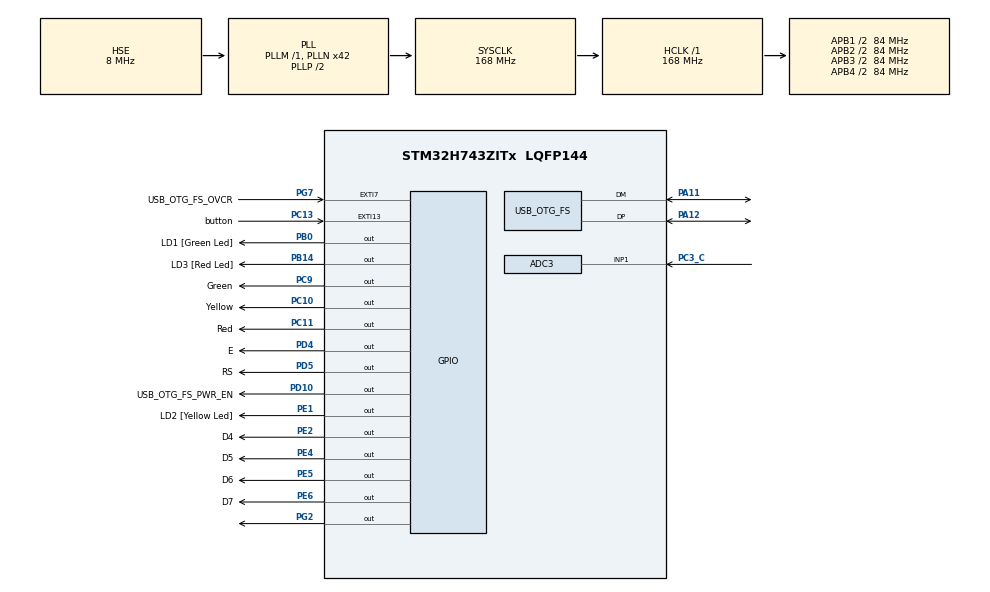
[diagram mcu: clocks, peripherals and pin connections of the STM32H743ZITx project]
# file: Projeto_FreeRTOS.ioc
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ADC3.Channel-0\#ChannelRegularConversion=ADC_CHANNEL_1
ADC3.ClockPrescalerADC3=ADC_CLOCK_ASYNC_DIV4
ADC3.ContinuousConvMode=ENABLE
ADC3.EOCSelection=ADC_EOC_SINGLE_CONV
ADC3.NbrOfConversion=1
ADC3.NbrOfConversionFlag=1
ADC3.OffsetNumber-0\#ChannelRegularConversion=ADC_OFFSET_NONE
ADC3.OffsetSignedSaturation-0\#ChannelRegularConversion=DISABLE
ADC3.Rank-0\#ChannelRegularConversion=1
ADC3.Resolution=ADC_RESOLUTION_12B
ADC3.SamplingTime-0\#ChannelRegularConversion=ADC_SAMPLETIME_64CYCLES_5
FREERTOS.BinarySemaphores01=mySemMultiAndLongClique,Dynamic,NULL,Available;mySemBuzzer,Dynamic,NULL,Available;mySemLed,Dynamic,NULL,Available;mySemBuzzerWait,Dynamic,NULL,Available;mySemLedWait,Dynamic,NULL,Available;mySemButtonBlock,Dynamic,NULL,Available;mySemUSB_Block,Dynamic,NULL,Available
FREERTOS.Queues01=myQueue01,16,uint32_t,0,Dynamic,NULL,NULL;myQueue02,16,uint32_t,0,Dynamic,NULL,NULL;myQueue03,16,uint32_t,0,Dynamic,NULL,NULL;myQueue04,16,uint16_t,0,Dynamic,NULL,NULL;myQueue05,16,uint16_t,0,Dynamic,NULL,NULL
FREERTOS.Tasks01=myTask01_Button,0,128,StartTask01_Button,Default,NULL,Dynamic,NULL,NULL;myTask02_Buzzer,-1,128,StartTask02_Buzzer,Default,NULL,Dynamic,NULL,NULL;myTask03_Led,-1,128,StartTask03_Led,Default,NULL,Dynamic,NULL,NULL;myTask04_USB,1,128,StartTask04_USB,Default,NULL,Dynamic,NULL,NULL
FREERTOS.Timers01=myTimerMultiAndLongCliques,CallbackMultiAndLongCliques,osTimerOnce,Default,NULL,Dynamic,NULL;myTimerToqueIntermitenteBuzzer,CallbackToqueIntermitenteBuzzer,osTimerPeriodic,Default,NULL,Dynamic,NULL;myTimerToqueRapido3sBuzzer,CallbackToqueRapido3sBuzzer,osTimerOnce,Default,NULL,Dynamic,NULL;myTimerTask3_1s,CallbackTask3_1s,osTimerPeriodic,Default,NULL,Dynamic,NULL;myTimerToqueIntermitenteLed,CallbackToqueIntermitenteLed,osTimerPeriodic,Default,NULL,Dynamic,NULL;myTimerToqueRapido3sLed,CallbackToqueRapido3sLed,osTimerOnce,Default,NULL,Dynamic,NULL;myTimerYellow5hz,CallbackYellow5hz,osTimerPeriodic,Default,NULL,Dynamic,NULL
FREERTOS.configENABLE_FPU=1
FREERTOS.configTOTAL_HEAP_SIZE=32000
FREERTOS.configUSE_NEWLIB_REENTRANT=1
FREERTOS.configUSE_TIMERS=1
Mcu.Family=STM32H7
Mcu.Name=STM32H743ZITx
Mcu.Package=LQFP144
NVIC.ADC3_IRQn=true\:5\:0\:false\:false\:true\:true\:true\:true\:true
NVIC.EXTI15_10_IRQn=true\:5\:0\:false\:false\:true\:true\:true\:true\:true
NVIC.OTG_FS_IRQn=true\:5\:0\:false\:false\:true\:true\:true\:true\:true
NVIC.PriorityGroup=NVIC_PRIORITYGROUP_4
NVIC.TIM2_IRQn=true\:15\:0\:false\:false\:true\:false\:false\:true\:true
NVIC.TimeBase=TIM2_IRQn
NVIC.TimeBaseIP=TIM2
PA1.Signal=ETH_REF_CLK
PA11.Mode=Device_Only
PA11.Signal=USB_OTG_FS_DM
PA12.Mode=Device_Only
PA12.Signal=USB_OTG_FS_DP
PA13\ (JTMS/SWDIO).Mode=Serial_Wire
PA13\ (JTMS/SWDIO).Signal=DEBUG_JTMS-SWDIO
PA14\ (JTCK/SWCLK).Mode=Serial_Wire
PA14\ (JTCK/SWCLK).Signal=DEBUG_JTCK-SWCLK
PA2.Signal=ETH_MDIO
PA7.Signal=ETH_CRS_DV
PA8.Signal=USB_OTG_FS_SOF
PA9.Signal=USB_OTG_FS_VBUS
PB0.GPIO_Label=LD1 [Green Led]
PB0.Signal=GPIO_Output
PB13.Signal=ETH_TXD1
PB14.GPIO_Label=LD3 [Red Led]
PB14.Signal=GPIO_Output
PC1.Signal=ETH_MDC
PC10.GPIO_Label=Yellow
PC10.Signal=GPIO_Output
PC11.GPIO_Label=Red
PC11.Signal=GPIO_Output
PC13.GPIO_Label=button
PC13.GPIO_ModeDefaultEXTI=GPIO_MODE_IT_RISING_FALLING
PC13.Signal=GPXTI13
PC14-OSC32_IN\ (OSC32_IN).Mode=LSE-External-Oscillator
PC14-OSC32_IN\ (OSC32_IN).Signal=RCC_OSC32_IN
PC15-OSC32_OUT\ (OSC32_OUT).Mode=LSE-External-Oscillator
PC15-OSC32_OUT\ (OSC32_OUT).Signal=RCC_OSC32_OUT
PC3_C.Mode=IN1-Single-Ended
PC3_C.Signal=ADC3_INP1
PC4.Signal=ETH_RXD0
PC5.Signal=ETH_RXD1
PC9.GPIO_Label=Green
PC9.Signal=GPIO_Output
PD10.GPIO_Label=USB_OTG_FS_PWR_EN
PD10.Signal=GPIO_Output
PD4.GPIO_Label=E
PD4.Signal=GPIO_Output
PD5.GPIO_Label=RS
PD5.Signal=GPIO_Output
PD8.GPIO_Label=STLINK_RX
PD8.Signal=USART3_TX
PD9.GPIO_Label=STLINK_TX
PD9.Signal=USART3_RX
PE1.GPIO_Label=LD2 [Yellow Led]
PE1.Signal=GPIO_Output
PE2.GPIO_Label=D4
PE2.Signal=GPIO_Output
PE4.GPIO_Label=D5
PE4.Signal=GPIO_Output
PE5.GPIO_Label=D6
PE5.GPIO_Speed=GPIO_SPEED_FREQ_LOW
PE5.Signal=GPIO_Output
PE6.GPIO_Label=D7
PE6.Signal=GPIO_Output
PG11.Signal=ETH_TX_EN
PG13.Signal=ETH_TXD0
PG2.GPIO_PuPd=GPIO_PULLUP
PG2.Signal=GPIO_Output
PG7.GPIO_Label=USB_OTG_FS_OVCR
PG7.Signal=GPXTI7
PH0-OSC_IN\ (PH0).Mode=HSE-External-Oscillator
PH0-OSC_IN\ (PH0).Signal=RCC_OSC_IN
PH1-OSC_OUT\ (PH1).Mode=HSE-External-Oscillator
PH1-OSC_OUT\ (PH1).Signal=RCC_OSC_OUT
ProjectManager.HeapSize=0x200
ProjectManager.StackSize=0x400
ProjectManager.TargetToolchain=STM32CubeIDE
RCC.ADCFreq_Value=76000000
RCC.APB1Freq_Value=84000000
RCC.APB2Freq_Value=84000000
RCC.APB3Freq_Value=84000000
RCC.APB4Freq_Value=84000000
RCC.CortexFreq_Value=168000000
RCC.D1PPRE=RCC_APB3_DIV2
RCC.D2PPRE1=RCC_APB1_DIV2
RCC.D2PPRE2=RCC_APB2_DIV2
RCC.D3PPRE=RCC_APB4_DIV2
RCC.DIVM1=1
RCC.DIVM2=1
RCC.DIVN1=42
RCC.DIVN2=19
RCC.DIVQ1=7
RCC.HCLKFreq_Value=168000000
RCC.HSE_VALUE=8000000
RCC.PLLFRACN=0
RCC.PLLSourceVirtual=RCC_PLLSOURCE_HSE
RCC.PWR_Regulator_Voltage_Scale=PWR_REGULATOR_VOLTAGE_SCALE2
RCC.SYSCLKFreq_VALUE=168000000
RCC.SYSCLKSource=RCC_SYSCLKSOURCE_PLLCLK
RCC.USBFreq_Value=48000000
TIM1.Prescaler=168-1
USB_DEVICE.CLASS_NAME_FS=CDC
USB_DEVICE.VirtualMode-CDC_FS=Cdc
USB_DEVICE.VirtualModeFS=Cdc_FS
USB_OTG_FS.VirtualMode=Device_Only
VP_FREERTOS_VS_CMSIS_V1.Mode=CMSIS_V1
VP_MEMORYMAP_VS_MEMORYMAP.Mode=CurAppReg
VP_SYS_VS_tim2.Mode=TIM2
VP_TIM1_VS_ClockSourceINT.Mode=Internal
VP_USB_DEVICE_VS_USB_DEVICE_CDC_FS.Mode=CDC_FS
board=NUCLEO-H743ZI2

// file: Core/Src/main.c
/* USER CODE BEGIN Header */
/**
  ******************************************************************************
  * @file           : main.c
  * @brief          : Main program body
  ******************************************************************************
  * @attention
  *
  * Copyright (c) 2024 STMicroelectronics.
  * All rights reserved.
  *
  * This software is licensed under terms that can be found in the LICENSE file
  * in the root directory of this software component.
  * If no LICENSE file comes with this software, it is provided AS-IS.
  *
  ******************************************************************************
  */
/* USER CODE END Header */
#include "main.h"
#include "cmsis_os.h"
#include "adc.h"
#include "memorymap.h"
#include "tim.h"
#include "usb_device.h"
#include "gpio.h"

/* USER CODE BEGIN Includes */
#include "LCD1602.h"
/* USER CODE END Includes */

void SystemClock_Config(void);
void MX_FREERTOS_Init(void);

int main(void)
{

  /* MCU Configuration--------------------------------------------------------*/

  /* Reset of all peripherals, Initializes the Flash interface and the Systick. */
  HAL_Init();

  /* Configure the system clock */
  SystemClock_Config();

  /* Initialize all configured peripherals */
  MX_GPIO_Init();
  MX_ADC3_Init();
  MX_TIM1_Init();
  /* USER CODE BEGIN 2 */
  HAL_TIM_Base_Start(&htim1);
  lcd_init();
  /* USER CODE END 2 */

  /* Call init function for freertos objects (in cmsis_os2.c) */
  MX_FREERTOS_Init();

  /* Start scheduler */
  osKernelStart();

  /* We should never get here as control is now taken by the scheduler */

  /* Infinite loop */
  while (1)
  {

  }
}

void SystemClock_Config(void)
{
  RCC_OscInitTypeDef RCC_OscInitStruct = {0};
  RCC_ClkInitTypeDef RCC_ClkInitStruct = {0};

  /** Supply configuration update enable
  */
  HAL_PWREx_ConfigSupply(PWR_LDO_SUPPLY);

  /** Configure the main internal regulator output voltage
  */
  __HAL_PWR_VOLTAGESCALING_CONFIG(PWR_REGULATOR_VOLTAGE_SCALE2);

  while(!__HAL_PWR_GET_FLAG(PWR_FLAG_VOSRDY)) {}

  /** Initializes the RCC Oscillators according to the specified parameters
  * in the RCC_OscInitTypeDef structure.
  */
  RCC_OscInitStruct.OscillatorType = RCC_OSCILLATORTYPE_HSE;
  RCC_OscInitStruct.HSEState = RCC_HSE_ON;
  RCC_OscInitStruct.PLL.PLLState = RCC_PLL_ON;
  RCC_OscInitStruct.PLL.PLLSource = RCC_PLLSOURCE_HSE;
  RCC_OscInitStruct.PLL.PLLM = 1;
  RCC_OscInitStruct.PLL.PLLN = 42;
  RCC_OscInitStruct.PLL.PLLP = 2;
  RCC_OscInitStruct.PLL.PLLQ = 7;
  RCC_OscInitStruct.PLL.PLLR = 2;
  RCC_OscInitStruct.PLL.PLLRGE = RCC_PLL1VCIRANGE_3;
  RCC_OscInitStruct.PLL.PLLVCOSEL = RCC_PLL1VCOWIDE;
  RCC_OscInitStruct.PLL.PLLFRACN = 0;
  if (HAL_RCC_OscConfig(&RCC_OscInitStruct) != HAL_OK)
  {
    Error_Handler();
  }

  /** Initializes the CPU, AHB and APB buses clocks
  */
  RCC_ClkInitStruct.ClockType = RCC_CLOCKTYPE_HCLK|RCC_CLOCKTYPE_SYSCLK
                              |RCC_CLOCKTYPE_PCLK1|RCC_CLOCKTYPE_PCLK2
                              |RCC_CLOCKTYPE_D3PCLK1|RCC_CLOCKTYPE_D1PCLK1;
  RCC_ClkInitStruct.SYSCLKSource = RCC_SYSCLKSOURCE_PLLCLK;
  RCC_ClkInitStruct.SYSCLKDivider = RCC_SYSCLK_DIV1;
  RCC_ClkInitStruct.AHBCLKDivider = RCC_HCLK_DIV1;
  RCC_ClkInitStruct.APB3CLKDivider = RCC_APB3_DIV2;
  RCC_ClkInitStruct.APB1CLKDivider = RCC_APB1_DIV2;
  RCC_ClkInitStruct.APB2CLKDivider = RCC_APB2_DIV2;
  RCC_ClkInitStruct.APB4CLKDivider = RCC_APB4_DIV2;

  if (HAL_RCC_ClockConfig(&RCC_ClkInitStruct, FLASH_LATENCY_3) != HAL_OK)
  {
    Error_Handler();
  }
}

void HAL_TIM_PeriodElapsedCallback(TIM_HandleTypeDef *htim)
{
  if (htim->Instance == TIM2) {
    HAL_IncTick();
  }
}

void Error_Handler(void)
{
  __disable_irq();
  while (1)
  {
  }
}

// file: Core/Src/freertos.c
/* USER CODE BEGIN Header */
/**
  ******************************************************************************
  * File Name          : freertos.c
  * Description        : Code for freertos applications
  ******************************************************************************
  * @attention
  *
  * Copyright (c) 2024 STMicroelectronics.
  * All rights reserved.
  *
  * This software is licensed under terms that can be found in the LICENSE file
  * in the root directory of this software component.
  * If no LICENSE file comes with this software, it is provided AS-IS.
  *
  ******************************************************************************
  */
/* USER CODE END Header */

#include "FreeRTOS.h"
#include "task.h"
#include "main.h"
#include "cmsis_os.h"

/* USER CODE BEGIN Includes */
#include "adc.h"
#include "gpio.h"
#include "LCD1602.h"
#include "Data_Variables.h"
#include "string.h"
/* USER CODE END Includes */

/* USER CODE BEGIN Variables */
int8_t button = 0; // variavel que indica quando o botao esta pressionado, 1 -> pressionado, 0 -> solto
float ldr_value = 0; // variavel que me guarda o valor do ldr convertido para 0 a 3,3 volts
int16_t frequencia_Buzzer = 500; // variavel que me altera a frequancia do toque intermitente do buzzer
int16_t frequencia_Led = 500; // variavel que me altera a frequancia do toque intermitente do buzzer

// Lista para armazenar os comandos ativos
char comandos_ativos[5][5];
uint8_t num_comandos_ativos = 0; // Quantidade de comandos ativos

/* USER CODE END Variables */
osThreadId myTask01_ButtonHandle;
osThreadId myTask02_BuzzerHandle;
osThreadId myTask03_LedHandle;
osThreadId myTask04_USBHandle;
osMessageQId myQueue01Handle;
osMessageQId myQueue02Handle;
osMessageQId myQueue03Handle;
osMessageQId myQueue04Handle;
osMessageQId myQueue05Handle;
osTimerId myTimerMultiAndLongCliquesHandle;
osTimerId myTimerToqueIntermitenteBuzzerHandle;
osTimerId myTimerToqueRapido3sBuzzerHandle;
osTimerId myTimerTask3_1sHandle;
osTimerId myTimerToqueIntermitenteLedHandle;
osTimerId myTimerToqueRapido3sLedHandle;
osTimerId myTimerYellow5hzHandle;
osSemaphoreId mySemMultiAndLongCliqueHandle;
osSemaphoreId mySemBuzzerHandle;
osSemaphoreId mySemLedHandle;
osSemaphoreId mySemBuzzerWaitHandle;
osSemaphoreId mySemLedWaitHandle;
osSemaphoreId mySemButtonBlockHandle;
osSemaphoreId mySemUSB_BlockHandle;

/* USER CODE BEGIN FunctionPrototypes */
void floatToString(float valor, char *str);
void LCD_methed(uint8_t i);
void adicionar_comando(char *comando);
void remover_comando(char *comando);
/* USER CODE END FunctionPrototypes */

void StartTask01_Button(void const * argument);
void StartTask02_Buzzer(void const * argument);
void StartTask03_Led(void const * argument);
void StartTask04_USB(void const * argument);
void CallbackMultiAndLongCliques(void const * argument);
void CallbackToqueIntermitenteBuzzer(void const * argument);
void CallbackToqueRapido3sBuzzer(void const * argument);
void CallbackTask3_1s(void const * argument);
void CallbackToqueIntermitenteLed(void const * argument);
void CallbackToqueRapido3sLed(void const * argument);
void CallbackYellow5hz(void const * argument);

extern void MX_USB_DEVICE_Init(void);
void MX_FREERTOS_Init(void); /* (MISRA C 2004 rule 8.1) */

/* GetIdleTaskMemory prototype (linked to static allocation support) */
void vApplicationGetIdleTaskMemory( StaticTask_t **ppxIdleTaskTCBBuffer, StackType_t **ppxIdleTaskStackBuffer, uint32_t *pulIdleTaskStackSize );

/* GetTimerTaskMemory prototype (linked to static allocation support) */
void vApplicationGetTimerTaskMemory( StaticTask_t **ppxTimerTaskTCBBuffer, StackType_t **ppxTimerTaskStackBuffer, uint32_t *pulTimerTaskStackSize );

/* USER CODE BEGIN GET_IDLE_TASK_MEMORY */
static StaticTask_t xIdleTaskTCBBuffer;
static StackType_t xIdleStack[configMINIMAL_STACK_SIZE];

void vApplicationGetIdleTaskMemory( StaticTask_t **ppxIdleTaskTCBBuffer, StackType_t **ppxIdleTaskStackBuffer, uint32_t *pulIdleTaskStackSize )
{
  *ppxIdleTaskTCBBuffer = &xIdleTaskTCBBuffer;
  *ppxIdleTaskStackBuffer = &xIdleStack[0];
  *pulIdleTaskStackSize = configMINIMAL_STACK_SIZE;
  /* place for user code */
}
/* USER CODE END GET_IDLE_TASK_MEMORY */

/* USER CODE BEGIN GET_TIMER_TASK_MEMORY */
static StaticTask_t xTimerTaskTCBBuffer;
static StackType_t xTimerStack[configTIMER_TASK_STACK_DEPTH];

void vApplicationGetTimerTaskMemory( StaticTask_t **ppxTimerTaskTCBBuffer, StackType_t **ppxTimerTaskStackBuffer, uint32_t *pulTimerTaskStackSize )
{
  *ppxTimerTaskTCBBuffer = &xTimerTaskTCBBuffer;
  *ppxTimerTaskStackBuffer = &xTimerStack[0];
  *pulTimerTaskStackSize = configTIMER_TASK_STACK_DEPTH;
  /* place for user code */
}
/* USER CODE END GET_TIMER_TASK_MEMORY */

void MX_FREERTOS_Init(void) {

  /* Create the semaphores(s) */
  /* definition and creation of mySemMultiAndLongClique */
  osSemaphoreDef(mySemMultiAndLongClique);
  mySemMultiAndLongCliqueHandle = osSemaphoreCreate(osSemaphore(mySemMultiAndLongClique), 1);

  /* definition and creation of mySemBuzzer */
  osSemaphoreDef(mySemBuzzer);
  mySemBuzzerHandle = osSemaphoreCreate(osSemaphore(mySemBuzzer), 1);

  /* definition and creation of mySemLed */
  osSemaphoreDef(mySemLed);
  mySemLedHandle = osSemaphoreCreate(osSemaphore(mySemLed), 1);

  /* definition and creation of mySemBuzzerWait */
  osSemaphoreDef(mySemBuzzerWait);
  mySemBuzzerWaitHandle = osSemaphoreCreate(osSemaphore(mySemBuzzerWait), 1);

  /* definition and creation of mySemLedWait */
  osSemaphoreDef(mySemLedWait);
  mySemLedWaitHandle = osSemaphoreCreate(osSemaphore(mySemLedWait), 1);

  /* definition and creation of mySemButtonBlock */
  osSemaphoreDef(mySemButtonBlock);
  mySemButtonBlockHandle = osSemaphoreCreate(osSemaphore(mySemButtonBlock), 1);

  /* definition and creation of mySemUSB_Block */
  osSemaphoreDef(mySemUSB_Block);
  mySemUSB_BlockHandle = osSemaphoreCreate(osSemaphore(mySemUSB_Block), 1);

  /* USER CODE BEGIN RTOS_SEMAPHORES */
  /* add semaphores, ... */
  osSemaphoreWait(mySemMultiAndLongCliqueHandle, 1);
  osSemaphoreWait(mySemBuzzerHandle, 1);
  osSemaphoreWait(mySemLedHandle, 1);
  /* USER CODE END RTOS_SEMAPHORES */

  /* Create the timer(s) */
  /* definition and creation of myTimerMultiAndLongCliques */
  osTimerDef(myTimerMultiAndLongCliques, CallbackMultiAndLongCliques);
  myTimerMultiAndLongCliquesHandle = osTimerCreate(osTimer(myTimerMultiAndLongCliques), osTimerOnce, NULL);

  /* definition and creation of myTimerToqueIntermitenteBuzzer */
  osTimerDef(myTimerToqueIntermitenteBuzzer, CallbackToqueIntermitenteBuzzer);
  myTimerToqueIntermitenteBuzzerHandle = osTimerCreate(osTimer(myTimerToqueIntermitenteBuzzer), osTimerPeriodic, NULL);

  /* definition and creation of myTimerToqueRapido3sBuzzer */
  osTimerDef(myTimerToqueRapido3sBuzzer, CallbackToqueRapido3sBuzzer);
  myTimerToqueRapido3sBuzzerHandle = osTimerCreate(osTimer(myTimerToqueRapido3sBuzzer), osTimerOnce, NULL);

  /* definition and creation of myTimerTask3_1s */
  osTimerDef(myTimerTask3_1s, CallbackTask3_1s);
  myTimerTask3_1sHandle = osTimerCreate(osTimer(myTimerTask3_1s), osTimerPeriodic, NULL);

  /* definition and creation of myTimerToqueIntermitenteLed */
  osTimerDef(myTimerToqueIntermitenteLed, CallbackToqueIntermitenteLed);
  myTimerToqueIntermitenteLedHandle = osTimerCreate(osTimer(myTimerToqueIntermitenteLed), osTimerPeriodic, NULL);

  /* definition and creation of myTimerToqueRapido3sLed */
  osTimerDef(myTimerToqueRapido3sLed, CallbackToqueRapido3sLed);
  myTimerToqueRapido3sLedHandle = osTimerCreate(osTimer(myTimerToqueRapido3sLed), osTimerOnce, NULL);

  /* definition and creation of myTimerYellow5hz */
  osTimerDef(myTimerYellow5hz, CallbackYellow5hz);
  myTimerYellow5hzHandle = osTimerCreate(osTimer(myTimerYellow5hz), osTimerPeriodic, NULL);

  /* Create the queue(s) */
  /* definition and creation of myQueue01 */
  osMessageQDef(myQueue01, 16, uint32_t);
  myQueue01Handle = osMessageCreate(osMessageQ(myQueue01), NULL);

  /* definition and creation of myQueue02 */
  osMessageQDef(myQueue02, 16, uint32_t);
  myQueue02Handle = osMessageCreate(osMessageQ(myQueue02), NULL);

  /* definition and creation of myQueue03 */
  osMessageQDef(myQueue03, 16, uint32_t);
  myQueue03Handle = osMessageCreate(osMessageQ(myQueue03), NULL);

  /* definition and creation of myQueue04 */
  osMessageQDef(myQueue04, 16, uint16_t);
  myQueue04Handle = osMessageCreate(osMessageQ(myQueue04), NULL);

  /* definition and creation of myQueue05 */
  osMessageQDef(myQueue05, 16, uint16_t);
  myQueue05Handle = osMessageCreate(osMessageQ(myQueue05), NULL);

  /* Create the thread(s) */
  /* definition and creation of myTask01_Button */
  osThreadDef(myTask01_Button, StartTask01_Button, osPriorityNormal, 0, 128);
  myTask01_ButtonHandle = osThreadCreate(osThread(myTask01_Button), NULL);

  /* definition and creation of myTask02_Buzzer */
  osThreadDef(myTask02_Buzzer, StartTask02_Buzzer, osPriorityBelowNormal, 0, 128);
  myTask02_BuzzerHandle = osThreadCreate(osThread(myTask02_Buzzer), NULL);

  /* definition and creation of myTask03_Led */
  osThreadDef(myTask03_Led, StartTask03_Led, osPriorityBelowNormal, 0, 128);
  myTask03_LedHandle = osThreadCreate(osThread(myTask03_Led), NULL);

  /* definition and creation of myTask04_USB */
  osThreadDef(myTask04_USB, StartTask04_USB, osPriorityAboveNormal, 0, 128);
  myTask04_USBHandle = osThreadCreate(osThread(myTask04_USB), NULL);

}

void StartTask01_Button(void const * argument)
{
  /* init code for USB_DEVICE */
  MX_USB_DEVICE_Init();
  /* USER CODE BEGIN StartTask01_Button */
  static uint8_t n_button = 0;
  static uint8_t button_pressed = 0;
  static uint8_t Start_ToqueIntermitente = 0;
  static uint8_t toggle_action_2_button = 0;
  /* Infinite loop */
  for(;;){
	  // Verifica se o botão foi pressionado, utilizando o semáforo para controle
	  if(osSemaphoreWait(mySemButtonBlockHandle, 1) == osOK){
	      // Se o botão foi pressionado (valor 1)
	      if(button == 1){
	          button = 0; // Reseta o estado do botão
	          n_button++; // Incrementa o contador de cliques

	          // Se for o primeiro clique
	          if(n_button == 1){
	              button_pressed = 1; // Marca o botão como pressionado
	              // Inicia um timer de 1 segundo para múltiplos cliques
	              osTimerStart(myTimerMultiAndLongCliquesHandle, 1000);
	          }
	      // Verifica se o botão foi solto (valor -1)
	      }else if(button == -1){
	          button = 0; // Reseta o estado do botão
	          button_pressed = 0; // Marca o botão como não pressionado
	      }
	      // Libera o semáforo para permitir o uso por outros processos
	      osSemaphoreRelease(mySemButtonBlockHandle);
	  }

	  // Verifica se o semáforo liberado pelo Timer01 foi ativado (controle para múltiplos cliques)
	  if(osSemaphoreWait(mySemMultiAndLongCliqueHandle, 10) == osOK){
	      // Se o botão já foi solto
	      if(button_pressed == 0){
	          // Se a ação de toque intermitente não estiver ativa
	          if(Start_ToqueIntermitente == 0){
	              // Executa a ação correspondente ao número de cliques

	              // Se houve 1 clique
	              if(n_button == 1){
	                  Start_ToqueIntermitente = 1; // Marca que o toque intermitente foi iniciado
	                  HAL_GPIO_WritePin(GPIOB, GPIO_PIN_0, GPIO_PIN_SET); // Liga o GPIO correspondente

	                  // Envia mensagens para ativar o buzzer e a luz (L)
	                  osMessagePut(myQueue01Handle, (uint32_t)"ON B", 10);
	                  osMessagePut(myQueue02Handle, (uint32_t)"ON L", 10);

	                  // Adiciona os comandos "B" e "L" na lista de comandos ativos
	                  adicionar_comando("B");
	                  adicionar_comando("L");
	              }
	          }else{
	              // Se houver 2 cliques
	              if(n_button == 2){
	                  HAL_GPIO_TogglePin(GPIOE, GPIO_PIN_1); // Alterna o estado do GPIO (liga/desliga)

	                  // Verifica se a ação já está ativada
	                  if(toggle_action_2_button ^= 1){
	                      // Se não estiver ativada, envia mensagens para ligar o buzzer e a luz (B2, L2)
	                      osMessagePut(myQueue01Handle, (uint32_t)"ON B2", 10);
	                      osMessagePut(myQueue02Handle, (uint32_t)"ON L2", 10);
	                      adicionar_comando("B2");
	                      adicionar_comando("L2");
	                  }else{
	                      // Se já estiver ativada, envia mensagens para desligar o buzzer e a luz (B2, L2)
	                      osMessagePut(myQueue01Handle, (uint32_t)"OFF B2", 10);
	                      osMessagePut(myQueue02Handle, (uint32_t)"OFF L2", 10);
	                      remover_comando("B2");
	                      remover_comando("L2");
	                  }
	              // Se houver 3 cliques
	              }else if(n_button == 3){
	                  HAL_GPIO_WritePin(GPIOB, GPIO_PIN_14, GPIO_PIN_SET); // Liga o GPIO correspondente

	                  // Envia mensagens para ligar o buzzer e a luz (B3, L3)
	                  osMessagePut(myQueue01Handle, (uint32_t)"ON B3", 10);
	                  osMessagePut(myQueue02Handle, (uint32_t)"ON L3", 10);
	              }
	          }
	      }else{
	          // Se o botão ainda estiver pressionado, desliga o toque intermitente e reseta as variáveis de controle
	          Start_ToqueIntermitente = 0;
	          toggle_action_2_button = 0;

	          // Envia mensagens para desligar o buzzer e a luz (B, L)
	          osMessagePut(myQueue01Handle, (uint32_t)"OFF B", 10);
	          osMessagePut(myQueue02Handle, (uint32_t)"OFF L", 10);

	          // Remove os comandos da lista de comandos ativos
	          remover_comando("B");
	          remover_comando("L");
	          remover_comando("B2");
	          remover_comando("L2");

	          // Desliga os GPIOs correspondentes
	          HAL_GPIO_WritePin(GPIOB, GPIO_PIN_0, GPIO_PIN_RESET);
	          HAL_GPIO_WritePin(GPIOE, GPIO_PIN_1, GPIO_PIN_RESET);
	          HAL_GPIO_WritePin(GPIOB, GPIO_PIN_14, GPIO_PIN_RESET);
	      }

	      // Reseta o contador de cliques
	      n_button = 0;
	  }

	osDelay(30); // Pequeno atraso para evitar uso excessivo de CPU
  }
  /* USER CODE END StartTask01_Button */
}

void StartTask02_Buzzer(void const * argument)
{
  /* USER CODE BEGIN StartTask02_Buzzer */
	osEvent evt;

	static int8_t invert = 1;
	static uint8_t i = 0;
	static int8_t action_2_buzzer = 0;

  /* Infinite loop */
  for(;;){
	  // Obtém mensagem da fila myQueue01Handle, com tempo de espera de 10ms
	  evt = osMessageGet(myQueue01Handle, 10);
	  if(evt.status == osEventMessage){
	      uint8_t *val = (uint8_t *)evt.value.p;

	      // Verifica qual mensagem foi recebida e executa a ação correspondente
	      if(compare_buf(val, "ON B")){ // (A) Toque intermitente de 0,5 segundos, repetido indefinidamente (1ª ação)
	          frequencia_Buzzer = 500; // Define a frequência do buzzer para 0,5 segundos
	          osTimerStart(myTimerToqueIntermitenteBuzzerHandle, frequencia_Buzzer); // Inicia o timer para toque intermitente

	      }else if(compare_buf(val, "ON B2")){ // Aumenta ou diminui a frequência do toque intermitente (toque mais rápido)
	          action_2_buzzer = 1; // Marca que a ação 2 do buzzer está ativa

	      }else if(compare_buf(val, "ON B3")){ // Toque rápido de 0,15 segundos por 3 segundos
	          if(action_2_buzzer == 1){
	              osSemaphoreWait(mySemBuzzerWaitHandle, 1); // Espera o semáforo relacionado à ação 2 do buzzer
	          }

	          osTimerStart(myTimerToqueIntermitenteBuzzerHandle, 150); // Inicia o timer para toque rápido de 0,15 segundos
	          osTimerStart(myTimerToqueRapido3sBuzzerHandle, 3000); // Inicia o timer para desligar o toque rápido após 3 segundos

	      }else if(compare_buf(val, "OFF B")){ // Desliga o toque
	          action_2_buzzer = 0; // Reseta a ação 2
	          HAL_GPIO_WritePin(GPIOG, GPIO_PIN_2, GPIO_PIN_RESET); // Desliga o buzzer (GPIO)
	          osTimerStop(myTimerToqueIntermitenteBuzzerHandle); // Para o timer do toque intermitente

	      }else if(compare_buf(val, "OFF B2")){ // Desliga a ação 2 do buzzer
	          action_2_buzzer = 0; // Desativa a ação 2

	      }else if(compare_buf(val, "ON BU")){ // Situação de emergência, buzzer ligado
	          HAL_GPIO_WritePin(GPIOG, GPIO_PIN_2, GPIO_PIN_SET); // Liga o buzzer (GPIO)

	      }else if(compare_buf(val, "OFF BU")){ // Situação de emergência, buzzer desligado
	          HAL_GPIO_WritePin(GPIOG, GPIO_PIN_2, GPIO_PIN_RESET); // Desliga o buzzer (GPIO)
	      }
	  }

	  // Verifica se a ação 2 do buzzer está ativa
	  if(action_2_buzzer == 1){
	      // Espera o semáforo do buzzer ser liberado
	      if(osSemaphoreWait(mySemBuzzerHandle, 1) == osOK){
	          if(osSemaphoreWait(mySemBuzzerWaitHandle, 1) == osOK){
	              osSemaphoreRelease(mySemBuzzerWaitHandle); // Libera o semáforo

	              // Alterna a ação (controla a alternância entre as frequências)
	              if(i ^= 1){
	                  // Se a frequência estiver muito alta (<= 60), inverte a direção para diminuir a frequência
	                  if(frequencia_Buzzer <= 60){
	                      invert = 1; // Inverte a ação para aumentar a frequência
	                  }else if(frequencia_Buzzer >= 760){ // Se a frequência estiver muito baixa (>= 760)
	                      invert = -1; // Inverte a ação para diminuir a frequência
	                  }

	                  // Ajusta a frequência do buzzer de acordo com a direção (aumentando ou diminuindo)
	                  frequencia_Buzzer = frequencia_Buzzer + 20 * invert;
	                  osTimerStart(myTimerToqueIntermitenteBuzzerHandle, frequencia_Buzzer); // Reinicia o timer com a nova frequência
	              }
	          }
	      }
	  }

      osDelay(50);// Pequeno atraso para evitar uso excessivo de CPU
  }
  /* USER CODE END StartTask02_Buzzer */
}

void StartTask03_Led(void const * argument)
{
  /* USER CODE BEGIN StartTask03_Led */
	osEvent evt;

	static int8_t invert = 1;
	static uint8_t i = 0;
	static int8_t action_2_led = 0;

  /* Infinite loop */
  for(;;){
	  // Obtém mensagem da fila myQueue02Handle
	  evt = osMessageGet(myQueue02Handle, 10);
	  if(evt.status == osEventMessage){
	      uint8_t *val = (uint8_t *)evt.value.p;

	      // Verifica o comando recebido e executa a ação correspondente
	      if(compare_buf(val, "ON L")){  // Aciona LED intermitente com frequência de 500ms
	          frequencia_Led = 500;
	          osTimerStart(myTimerToqueIntermitenteLedHandle, frequencia_Led);
	          osTimerStart(myTimerTask3_1sHandle, 1000);  // Timer adicional de 1 segundo

	      }else if(compare_buf(val, "ON L2")){  // Ativa o modo de ação 2 do LED
	          action_2_led = 1;

	      }else if(compare_buf(val, "ON L3")){  // Aciona o LED rápido durante 3 segundos
	          if(action_2_led == 1){  // Espera semáforo se ação 2 estiver ativa
	              osSemaphoreWait(mySemLedWaitHandle, 1);
	          }

	          // Aciona o LED intermitente rápido (150ms) por 3 segundos
	          osTimerStart(myTimerToqueIntermitenteLedHandle, 150);
	          osTimerStart(myTimerToqueRapido3sLedHandle, 3000);

	      }else if(compare_buf(val, "OFF L")){  // Desativa o LED
	          action_2_led = 0;
	          osTimerStop(myTimerToqueIntermitenteLedHandle);  // Para o LED intermitente
	          osTimerStop(myTimerTask3_1sHandle);  // Para o timer
	          HAL_GPIO_WritePin(GPIOC, Green_Pin, GPIO_PIN_RESET);  // Desativa LEDs verde e amarelo
	          HAL_GPIO_WritePin(GPIOC, Yellow_Pin, GPIO_PIN_RESET);

	      }else if(compare_buf(val, "OFF L2")){  // Desativa ação 2 do LED
	          action_2_led = 0;

	      }else if(compare_buf(val, "ON LED")){  // Aciona LED vermelho em situação de emergência
	          HAL_GPIO_WritePin(GPIOC, Red_Pin, GPIO_PIN_SET);

	      }else if(compare_buf(val, "OFF LED")){  // Desativa LED vermelho em situação de emergência
	          HAL_GPIO_WritePin(GPIOC, Red_Pin, GPIO_PIN_RESET);
	      }
	  }

	  // Se ação 2 do LED estiver ativa, ajusta a frequência intermitente
	  if(action_2_led == 1){
	      if(osSemaphoreWait(mySemLedHandle, 1) == osOK){
	          if(osSemaphoreWait(mySemLedWaitHandle, 1) == osOK){
	              osSemaphoreRelease(mySemLedWaitHandle);

	              // Alterna o estado do LED intermitente
	              if(i ^= 1){
	                  // Ajusta a frequência: se estiver baixa (<60ms), aumenta, se alta (>760ms), diminui
	                  if(frequencia_Led <= 60){
	                      invert = 1;  // Aumenta a frequência (diminui o intervalo)
	                  }else if (frequencia_Led >= 760){
	                      invert = -1;  // Diminui a frequência (aumenta o intervalo)
	                  }

	                  // Ajusta a frequência do LED intermitente
	                  frequencia_Led = frequencia_Led + 20 * invert;
	                  osTimerStart(myTimerToqueIntermitenteLedHandle, frequencia_Led);
	              }
	          }
	      }
	  }

	  osDelay(50); // Pequeno atraso para evitar uso excessivo de CPU
  }
  /* USER CODE END StartTask03_Led */
}

void StartTask04_USB(void const * argument)
{
  /* USER CODE BEGIN StartTask04_USB */
	osEvent evt;

	static uint8_t start_ldr = 0;
	static uint8_t alarme = 0;
	static char str[5];

	static uint8_t display_leitura = 0;
	static uint8_t pisca = 0;

	char *command[10] = {"ON B", "OFF B", "ON B2", "OFF B2", "ON B3", "ON L", "OFF L", "ON L2", "OFF L2", "ON L3"};
	char *add_command[10] = {"B", "B", "B2", "B2", "", "L", "L", "L2", "L2", ""};

	LCD_methed(0); // LCD on Start
  /* Infinite loop */
	for(;;){
		// Obtém uma mensagem da fila myQueue03Handle
		evt = osMessageGet(myQueue03Handle, 10);
		if(evt.status == osEventMessage){
		    uint8_t *val = (uint8_t *)evt.value.p;

		    // Verifica se o valor recebido corresponde a um comando na lista de 'command'
		    for(int h = 0; h < 10; h++){
		        if(compare_buf(val, command[h])){  // Compara o valor recebido com o comando
		            if((h >= 0) && (h <= 4)){  // Se o comando está nos primeiros 5 índices, envia para fila myQueue01Handle
		                osMessagePut(myQueue01Handle, (uint32_t)command[h], 10);
		            }else{  // Se está nos próximos 5, envia para fila myQueue02Handle
		                osMessagePut(myQueue02Handle, (uint32_t)command[h], 10);
		            }

		            // Adiciona ou remove comandos dependendo do índice
		            if((h == 0) || (h == 2) || (h == 5) || (h == 7)){
		                adicionar_comando(add_command[h]);  // Adiciona comando
		            }else if((h == 1) || (h == 3) || (h == 6) || (h == 8)){
		                remover_comando(add_command[h]);  // Remove comando
		            }
		            break;
		        }
		    }

		    // Verifica comandos específicos "ON LDR" e "OFF LDR"
		    if(compare_buf(val, "ON LDR")){  // Inicia o sensor LDR
		        if(start_ldr == 0){  // Se o LDR não foi iniciado ainda
		            HAL_ADC_Start_IT(&hadc3);  // Inicia o ADC para leitura do LDR

		            start_ldr = 1;  // Marca que o LDR foi iniciado
		            LCD_methed(1);  // Atualiza o LCD para mostrar o status do LDR
		        }

		    }else if(compare_buf(val, "OFF LDR")){  // Para o sensor LDR
		        HAL_ADC_Stop_IT(&hadc3);  // Para a leitura do LDR (ADC)

		        ldr_value = 0;  // Zera o valor do LDR
		        start_ldr = 0;  // Marca que o LDR foi desativado
		        osMessagePut(myQueue01Handle, (uint32_t)"OFF BU", 10);  // Envia comando para desligar o buzzer
		        osMessagePut(myQueue02Handle, (uint32_t)"OFF LED", 10);  // Envia comando para desligar o LED

		        // Remove os comandos relacionados ao Buzzer e LED
		        remover_comando("B");
		        remover_comando("B2");
		        remover_comando("L");
		        remover_comando("L2");

		        LCD_methed(0);  // Atualiza o LCD para o estado inicial
		    }
		}

		if (start_ldr) {  // Check if the LDR process is enabled (likely a flag).
		    if (display_leitura++ == 10) {  // Increment the 'display_leitura' counter, and when it reaches 10:
		        display_leitura = 0;  // Reset the 'display_leitura' counter to 0.

		        // Toggle the 'pisca' variable (blinking flag). If 'pisca' is 1 (true):
		        if (pisca ^= 1) {
		            lcd_put_cur(1, 15);  // Move the cursor to row 1, column 15 on the LCD.
		            lcd_send_string("!");  // Display an exclamation mark "!".
		        } else {  // If 'pisca' is 0 (false):
		            lcd_put_cur(1, 15);  // Move the cursor to row 1, column 15 on the LCD.
		            lcd_send_string(".");  // Display a dot ".".
		        }

		        // Update the LCD display with the LDR sensor value.
		        lcd_put_cur(0, 12);  // Move the cursor to row 0, column 12 on the LCD.
		        floatToString(ldr_value, str);  // Convert the 'ldr_value' (a float) to a string.
		        lcd_send_string(str);  // Display the LDR value as a string on the LCD.
		    }

		    // Check if LDR value exceeds 2.5 and the alarm is not yet active.
		    if (ldr_value > 2.5 && !alarme) {
		        // Turn off specific components by sending messages to the queues.
		        osMessagePut(myQueue01Handle, (uint32_t)"OFF B", 10);  // Send "OFF B" message to Queue01.
		        osMessagePut(myQueue02Handle, (uint32_t)"OFF L", 10);  // Send "OFF L" message to Queue02.

		        // Activate the buzzer and LED by sending messages to the queues.
		        osMessagePut(myQueue01Handle, (uint32_t)"ON BU", 10);  // Send "ON BU" to turn on the buzzer.
		        osMessagePut(myQueue02Handle, (uint32_t)"ON LED", 10);  // Send "ON LED" to turn on the LED.

		        // Acquire semaphores to block certain actions (likely USB or button press actions).
		        osSemaphoreWait(mySemButtonBlockHandle, 1);  // Wait on the button block semaphore.
		        osSemaphoreWait(mySemUSB_BlockHandle, 1);  // Wait on the USB block semaphore.

		        alarme = 1;  // Set the 'alarme' flag to indicate that the alarm is active.

		    // If the LDR value drops below 2.2 and the alarm is active, deactivate the alarm.
		    } else if (ldr_value < 2.2 && alarme) {
		        // Turn off the buzzer and LED by sending messages to the queues.
		        osMessagePut(myQueue01Handle, (uint32_t)"OFF BU", 10);  // Send "OFF BU" to turn off the buzzer.
		        osMessagePut(myQueue02Handle, (uint32_t)"OFF LED", 10);  // Send "OFF LED" to turn off the LED.

		        // Release the semaphores to unblock actions.
		        osSemaphoreRelease(mySemButtonBlockHandle);  // Release the button block semaphore.
		        osSemaphoreRelease(mySemUSB_BlockHandle);  // Release the USB block semaphore.

		        // Reactivate commands that were previously active.
		        for (int i = 0; i < num_comandos_ativos; i++) {  // Iterate through active commands.
		            if (strcmp(comandos_ativos[i], "B") == 0) {
		                osMessagePut(myQueue01Handle, (uint32_t)"ON B", 10);  // Send "ON B" to Queue01.
		            } else if (strcmp(comandos_ativos[i], "B2") == 0) {
		                osMessagePut(myQueue01Handle, (uint32_t)"ON B2", 10);  // Send "ON B2" to Queue01.
		            } else if (strcmp(comandos_ativos[i], "L") == 0) {
		                osMessagePut(myQueue02Handle, (uint32_t)"ON L", 10);  // Send "ON L" to Queue02.
		            } else if (strcmp(comandos_ativos[i], "L2") == 0) {
		                osMessagePut(myQueue02Handle, (uint32_t)"ON L2", 10);  // Send "ON L2" to Queue02.
		            }
		        }

		        alarme = 0;  // Reset the 'alarme' flag, indicating the alarm is no longer active.
		    }
		}

		osDelay(50);
	}
  /* USER CODE END StartTask04_USB */
}

/* CallbackMultiAndLongCliques function */
void CallbackMultiAndLongCliques(void const * argument)
{
  /* USER CODE BEGIN CallbackMultiAndLongCliques */
	osSemaphoreRelease(mySemMultiAndLongCliqueHandle);
  /* USER CODE END CallbackMultiAndLongCliques */
}

/* CallbackToqueIntermitenteBuzzer function */
void CallbackToqueIntermitenteBuzzer(void const * argument)
{
  /* USER CODE BEGIN CallbackToqueIntermitenteBuzzer */
	HAL_GPIO_TogglePin(GPIOG, GPIO_PIN_2);
	osSemaphoreRelease(mySemBuzzerHandle);
  /* USER CODE END CallbackToqueIntermitenteBuzzer */
}

/* CallbackToqueRapido3sBuzzer function */
void CallbackToqueRapido3sBuzzer(void const * argument)
{
  /* USER CODE BEGIN CallbackToqueRapido3sBuzzer */
	osSemaphoreRelease(mySemBuzzerWaitHandle);
	osTimerStart(myTimerToqueIntermitenteBuzzerHandle, frequencia_Buzzer);
	HAL_GPIO_WritePin(GPIOB, GPIO_PIN_14, GPIO_PIN_RESET);
  /* USER CODE END CallbackToqueRapido3sBuzzer */
}

/* CallbackTask3_1s function */
void CallbackTask3_1s(void const * argument)
{
  /* USER CODE BEGIN CallbackTask3_1s */
	static uint8_t change_3s = 0;

	if(change_3s++ == 2){
		change_3s = 0;
		osTimerStart(myTimerYellow5hzHandle, 100);
		HAL_GPIO_WritePin(GPIOC, Yellow_Pin, GPIO_PIN_SET);
	}
  /* USER CODE END CallbackTask3_1s */
}

/* CallbackToqueIntermitenteLed function */
void CallbackToqueIntermitenteLed(void const * argument)
{
  /* USER CODE BEGIN CallbackToqueIntermitenteLed */
	HAL_GPIO_TogglePin(GPIOC, Green_Pin);
	osSemaphoreRelease(mySemLedHandle);
  /* USER CODE END CallbackToqueIntermitenteLed */
}

/* CallbackToqueRapido3sLed function */
void CallbackToqueRapido3sLed(void const * argument)
{
  /* USER CODE BEGIN CallbackToqueRapido3sLed */
	osSemaphoreRelease(mySemLedWaitHandle);
	osTimerStart(myTimerToqueIntermitenteLedHandle, frequencia_Led);
	HAL_GPIO_WritePin(GPIOB, GPIO_PIN_14, GPIO_PIN_RESET);
  /* USER CODE END CallbackToqueRapido3sLed */
}

/* CallbackYellow5hz function */
void CallbackYellow5hz(void const * argument)
{
  /* USER CODE BEGIN CallbackYellow5hz */
	static uint8_t change_5hz = 0;

	HAL_GPIO_TogglePin(GPIOC, Yellow_Pin);

	if(change_5hz++ >= 9){
		change_5hz = 0;
		osTimerStop(myTimerYellow5hzHandle);
		HAL_GPIO_WritePin(GPIOC, Yellow_Pin, GPIO_PIN_RESET);
	}
  /* USER CODE END CallbackYellow5hz */
}

/* USER CODE BEGIN Application */
void floatToString(float valor, char *str) {
    // Parte inteira do valor
    int parteInteira = (int)valor;
    // Calcula a parte fracionária
    int parteFracionaria = (int)((valor - parteInteira) * 100);

    // Converte a parte inteira para string
    int indice = 0;
    str[indice++] = parteInteira + '0';

    // Adiciona o ponto decimal
    str[indice++] = '.';

    // Converte a parte fracionária para string
    str[indice++] = ((parteFracionaria / 10) % 10) + '0';
    str[indice++] = (parteFracionaria % 10) + '0';

    // Finaliza a string
    str[indice] = '\0';
}

void LCD_methed(uint8_t i){
	lcd_clear();

	if(i){
		lcd_put_cur(0,0);
		lcd_send_string("LDR Value : ");
		lcd_put_cur(1,0);
		lcd_send_string("SE -> FreeRTOS");
	}else{
		lcd_put_cur(0,6);
		lcd_send_string("OFF!");
		lcd_put_cur(1,0);
		lcd_send_string("MEEC-> SETR-> G3");
	}
}

// Função para adicionar um comando à lista de comandos ativos
void adicionar_comando(char *comando) {
    // Verificar se o comando já está ativo
    for (int i = 0; i < num_comandos_ativos; i++) {
        if (strcmp(comandos_ativos[i], comando) == 0) {
            // Se o comando já está ativo, não adiciona novamente
            return;
        }
    }

    // Se o comando não está ativo, adiciona-o à lista
    if (num_comandos_ativos < 10) {
        strcpy(comandos_ativos[num_comandos_ativos], comando);
        num_comandos_ativos++;
    }
}

// Função para remover um comando da lista de comandos ativos
void remover_comando(char *comando) {
    for (int i = 0; i < num_comandos_ativos; i++) {
        if (strcmp(comandos_ativos[i], comando) == 0) {
            // Mover os comandos para preencher o espaço do comando removido
            for (int j = i; j < num_comandos_ativos - 1; j++) {
                strcpy(comandos_ativos[j], comandos_ativos[j + 1]);
            }
            num_comandos_ativos--;
            break;
        }
    }
}
/* USER CODE END Application */
